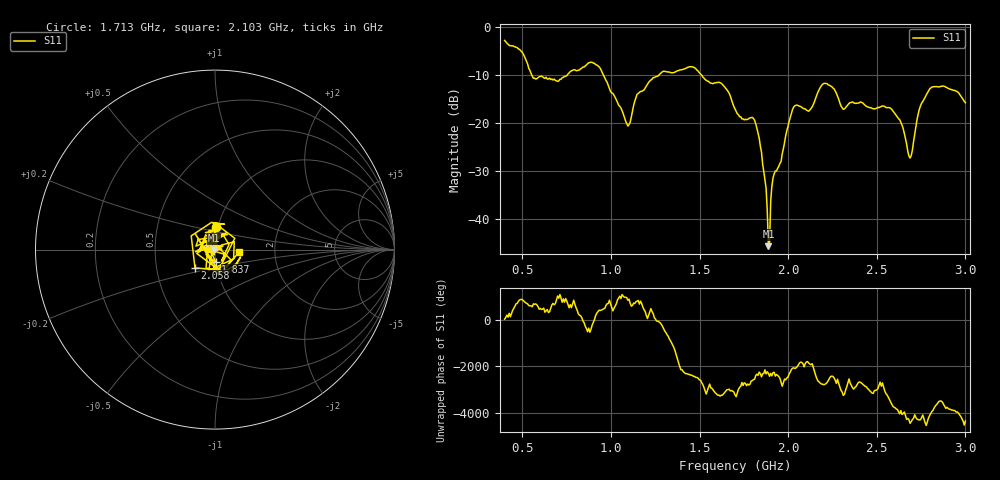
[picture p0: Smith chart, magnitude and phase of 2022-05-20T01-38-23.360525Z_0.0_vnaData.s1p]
!Created with skrf (http://scikit-rf.org).
# Hz S RI R 50.0
!freq ReS11 ImS11
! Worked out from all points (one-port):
!   401 points, 400 MHz to 3 GHz, reference 50 ohm
!   lowest |S11| = -45.7 dB at 1.889 GHz (marker M1), VSWR 1.01, Z = 49.6 - j0.33 ohm
!   |S11| at or under -10 dB: 552.8 MHz to 754 MHz (201.2 MHz wide, 30.8 % of centre); 957.1 MHz to 1.271 GHz (314.3 MHz wide, 28.2 % of centre); 1.511 GHz to end of sweep
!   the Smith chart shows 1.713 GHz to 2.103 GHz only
!   S11 on the Smith chart (normalised r, x): 1.713 GHz: 0.98, +0.25; 1.837 GHz: 1.00, -0.14; 2.058 GHz: 0.78, -0.16; 2.103 GHz: 1.31, -0.03
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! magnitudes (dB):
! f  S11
! 400 MHz  -2.8
! 569 MHz  -10.7
! 725 MHz  -10.6
! 907 MHz  -7.6
! 1.05 GHz  -16.5
! 1.095 GHz  -20.7
! 1.147 GHz  -14.0
! 1.226 GHz  -11.1
! 1.375 GHz  -9.1
! 1.622 GHz  -11.7
! 1.7 GHz  -17.1
! 1.713 GHz  -18.1
! 1.804 GHz  -19.1
! 1.837 GHz  -23.2
! 1.889 GHz  -45.7
! 1.921 GHz  -30.6
! 2.025 GHz  -17.2
! 2.058 GHz  -16.4
! 2.103 GHz  -17.3
! 2.207 GHz  -11.8
! 2.35 GHz  -15.7
! 2.578 GHz  -16.9
! 2.636 GHz  -19.9
! 2.675 GHz  -25.9
! 2.695 GHz  -26.8
! 2.74 GHz  -17.2
! 2.805 GHz  -12.7
! 3 GHz  -15.8
